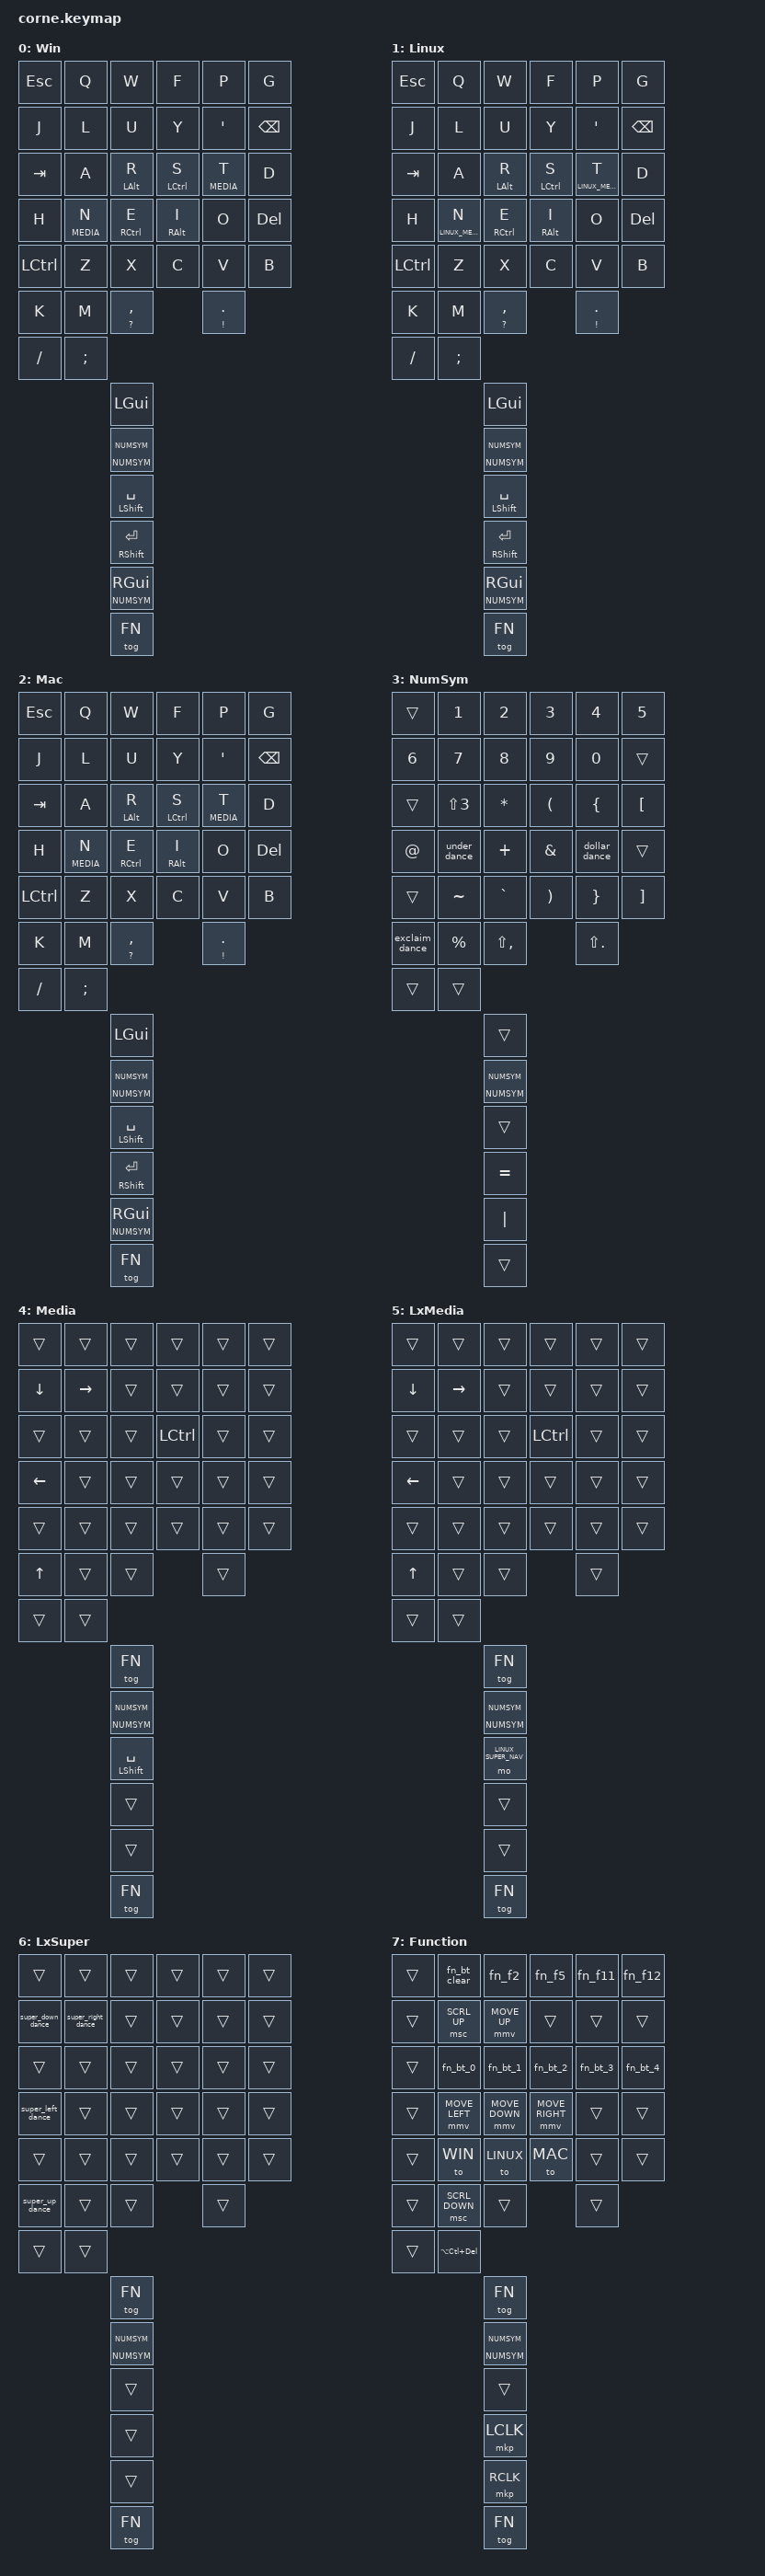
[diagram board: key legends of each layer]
/*
 * Copyright (c) 2020 The ZMK Contributors
 *
 * SPDX-License-Identifier: MIT
 */

#include <behaviors.dtsi>
#include <dt-bindings/zmk/bt.h>
#include <dt-bindings/zmk/keys.h>
#include <dt-bindings/zmk/pointing.h>

#define WIN              0
#define LINUX            1
#define MAC              2
#define NUMSYM           3
#define MEDIA            4
#define LINUX_MEDIA      5
#define LINUX_SUPER_NAV  6
#define FN               7

/ {
    combos {
        compatible = "zmk,combos";

        /*
         * Corne position map:
         *
         *  0  1  2  3  4  5       6  7  8  9 10 11
         * 12 13 14 15 16 17      18 19 20 21 22 23
         * 24 25 26 27 28 29      30 31 32 33 34 35
         *           36 37 38      39 40 41
         */

        /*
         * Maintenance shortcut retained from the Cradio:
         * with the Corne's FN layer toggled on, Z + ; enters bootloader.
         * Escape, Tab, Quote, Delete and / already have dedicated keys,
         * so their Cradio-only space-saving combos are deliberately omitted.
         */
        bootloader_combo {
            timeout-ms = <50>;
            key-positions = <25 35>; /* Z + ; */
            bindings = <&bootloader>;
            layers = <FN>;
        };

        /*
         * Windows and Linux editing combos:
         *
         * Z + X = Undo
         * X + C = Copy
         * C + V = Paste
         * V + B = Redo
         */
        ctrl_undo {
            timeout-ms = <40>;
            key-positions = <25 26>;
            bindings = <&kp LC(Z)>;
            layers = <WIN LINUX>;
        };

        ctrl_copy {
            timeout-ms = <40>;
            key-positions = <26 27>;
            bindings = <&kp LC(C)>;
            layers = <WIN LINUX>;
        };

        ctrl_paste {
            timeout-ms = <40>;
            key-positions = <27 28>;
            bindings = <&kp LC(V)>;
            layers = <WIN LINUX>;
        };

        ctrl_redo {
            timeout-ms = <40>;
            key-positions = <28 29>;
            bindings = <&kp LC(LS(Z))>;
            layers = <WIN LINUX>;
        };

        /* macOS editing combos. */
        mac_undo {
            timeout-ms = <40>;
            key-positions = <25 26>;
            bindings = <&kp LG(Z)>;
            layers = <MAC>;
        };

        mac_copy {
            timeout-ms = <40>;
            key-positions = <26 27>;
            bindings = <&kp LG(C)>;
            layers = <MAC>;
        };

        mac_paste {
            timeout-ms = <40>;
            key-positions = <27 28>;
            bindings = <&kp LG(V)>;
            layers = <MAC>;
        };

        mac_redo {
            timeout-ms = <40>;
            key-positions = <28 29>;
            bindings = <&kp LG(LS(Z))>;
            layers = <MAC>;
        };

        /*
         * Colemak arrow combos:
         *
         * K + M = Up
         * L + U = Right
         * H + N = Left
         * J + L = Down
         */
        arrow_up {
            timeout-ms = <40>;
            key-positions = <30 31>;
            bindings = <&kp UP>;
            layers = <WIN LINUX MAC>;
        };

        arrow_right {
            timeout-ms = <40>;
            key-positions = <7 8>;
            bindings = <&kp RIGHT>;
            layers = <WIN LINUX MAC>;
        };

        arrow_left {
            timeout-ms = <40>;
            key-positions = <18 19>;
            bindings = <&kp LEFT>;
            layers = <WIN LINUX MAC>;
        };

        arrow_down {
            timeout-ms = <40>;
            key-positions = <6 7>;
            bindings = <&kp DOWN>;
            layers = <WIN LINUX MAC>;
        };

        /*
         * Base punctuation combo:
         * M + , = \
         *
         * Corne keeps its dedicated / key in the outer column.
         */
        backslash_combo {
            timeout-ms = <40>;
            key-positions = <31 32>;
            bindings = <&kp BSLH>;
            layers = <WIN LINUX MAC>;
        };

    };

    macros {
        /* FN actions which automatically leave the toggled FN layer. */
        fn_bt_clear: fn_bt_clear {
            compatible = "zmk,behavior-macro";
            #binding-cells = <0>;
            bindings = <&bt BT_CLR>, <&tog FN>;
        };

        fn_bt_0: fn_bt_0 {
            compatible = "zmk,behavior-macro";
            #binding-cells = <0>;
            bindings = <&bt BT_SEL 0>, <&tog FN>;
        };

        fn_bt_1: fn_bt_1 {
            compatible = "zmk,behavior-macro";
            #binding-cells = <0>;
            bindings = <&bt BT_SEL 1>, <&tog FN>;
        };

        fn_bt_2: fn_bt_2 {
            compatible = "zmk,behavior-macro";
            #binding-cells = <0>;
            bindings = <&bt BT_SEL 2>, <&tog FN>;
        };

        fn_bt_3: fn_bt_3 {
            compatible = "zmk,behavior-macro";
            #binding-cells = <0>;
            bindings = <&bt BT_SEL 3>, <&tog FN>;
        };

        fn_bt_4: fn_bt_4 {
            compatible = "zmk,behavior-macro";
            #binding-cells = <0>;
            bindings = <&bt BT_SEL 4>, <&tog FN>;
        };

        fn_f2: fn_f2 {
            compatible = "zmk,behavior-macro";
            #binding-cells = <0>;
            bindings = <&kp F2>, <&tog FN>;
        };

        fn_f5: fn_f5 {
            compatible = "zmk,behavior-macro";
            #binding-cells = <0>;
            bindings = <&kp F5>, <&tog FN>;
        };

        fn_f11: fn_f11 {
            compatible = "zmk,behavior-macro";
            #binding-cells = <0>;
            bindings = <&kp F11>, <&tog FN>;
        };

        fn_f12: fn_f12 {
            compatible = "zmk,behavior-macro";
            #binding-cells = <0>;
            bindings = <&kp F12>, <&tog FN>;
        };
    };

    behaviors {
        /* Space/Shift and Enter/Shift thumb behavior. */
        thumb_mt: thumb_mod_tap {
            compatible = "zmk,behavior-hold-tap";
            #binding-cells = <2>;

            flavor = "balanced";
            tapping-term-ms = <200>;

            bindings = <&kp>, <&kp>;
        };

        /*
         * Generic layer-tap behavior retained for possible future use.
         *
         * First argument  = layer activated while held
         * Second argument = key sent when tapped
         */
        num_lt: num_layer_tap {
            compatible = "zmk,behavior-hold-tap";
            #binding-cells = <2>;

            flavor = "balanced";
            tapping-term-ms = <200>;

            bindings = <&mo>, <&kp>;
        };

        /*
         * NumSym thumb:
         *
         * Tap  = toggle NumSym
         * Hold = momentary NumSym
         */
        numsym_toggle_hold: numsym_toggle_hold {
            compatible = "zmk,behavior-hold-tap";
            #binding-cells = <2>;

            flavor = "balanced";
            tapping-term-ms = <200>;
            quick-tap-ms = <150>;

            bindings = <&mo>, <&tog>;
        };

        /*
         * Comma:
         * tap  = ,
         * hold = ?
         */
        comma_hold_tap: comma_hold_tap {
            compatible = "zmk,behavior-hold-tap";
            #binding-cells = <2>;

            flavor = "tap-preferred";
            tapping-term-ms = <200>;
            quick-tap-ms = <150>;
            require-prior-idle-ms = <100>;

            bindings = <&kp>, <&kp>;
        };


        under_dance: under_dance {
            compatible = "zmk,behavior-tap-dance";
            #binding-cells = <0>;

            tapping-term-ms = <175>;
            bindings = <&kp MINUS>, <&kp UNDER>;
        };


        dollar_dance: dollar_dance {
            compatible = "zmk,behavior-tap-dance";
            #binding-cells = <0>;

            tapping-term-ms = <250>;
            bindings = <&kp CARET>, <&kp DLLR>;
        };

        /*
         * NumSym punctuation:
         * tap        = !
         * double tap = ?
         */
        exclaim_dance: exclaim_dance {
            compatible = "zmk,behavior-tap-dance";
            #binding-cells = <0>;

            tapping-term-ms = <175>;
            bindings = <&kp EXCL>, <&kp QMARK>;
        };

        /*
         * Linux Super navigation:
         * single tap = Super + Arrow
         * double tap = Super + Shift + Arrow
         */
        super_down_dance: super_down_dance {
            compatible = "zmk,behavior-tap-dance";
            #binding-cells = <0>;
            tapping-term-ms = <175>;
            bindings = <&kp LG(DOWN)>, <&kp LG(LS(DOWN))>;
        };

        super_right_dance: super_right_dance {
            compatible = "zmk,behavior-tap-dance";
            #binding-cells = <0>;
            tapping-term-ms = <175>;
            bindings = <&kp LG(RIGHT)>, <&kp LG(LS(RIGHT))>;
        };

        super_left_dance: super_left_dance {
            compatible = "zmk,behavior-tap-dance";
            #binding-cells = <0>;
            tapping-term-ms = <175>;
            bindings = <&kp LG(LEFT)>, <&kp LG(LS(LEFT))>;
        };

        super_up_dance: super_up_dance {
            compatible = "zmk,behavior-tap-dance";
            #binding-cells = <0>;
            tapping-term-ms = <175>;
            bindings = <&kp LG(UP)>, <&kp LG(LS(UP))>;
        };

        /*
         * Period:
         * tap  = .
         * hold = !
         */
        dot_hold_tap: dot_hold_tap {
            compatible = "zmk,behavior-hold-tap";
            #binding-cells = <2>;

            flavor = "tap-preferred";
            tapping-term-ms = <150>;
            quick-tap-ms = <100>;
            require-prior-idle-ms = <100>;

            bindings = <&kp>, <&kp>;
        };
    };

    keymap {
        compatible = "zmk,keymap";

        /*
         * Corne Colemak-DH-like Windows layer:
         *
         * ESC   Q W F P G    J L U Y '   BSPC
         * TAB   A R S T D    H N E I O   DEL
         * LCTRL Z X C V B    K M , . /   ;
         *
         * Thumbs:
         * GUI  NumSym toggle/hold  Space/Shift
         * Enter/Shift  GUI/NumSym  FN
         */
        win_layer {
            display-name = "Win";

            bindings = <
&kp ESC    &kp Q         &kp W         &kp F          &kp P           &kp G
&kp J      &kp L         &kp U         &kp Y          &kp SQT         &kp BSPC

&kp TAB    &kp A         &mt LALT R    &mt LCTRL S    &lt MEDIA T     &kp D
&kp H      &lt MEDIA N   &mt RCTRL E   &mt RALT I     &kp O           &kp DEL

&kp LCTRL  &kp Z         &kp X         &kp C          &kp V           &kp B
&kp K      &kp M         &comma_hold_tap QMARK COMMA  &dot_hold_tap EXCL DOT
&kp FSLH   &kp SEMI

                         &kp LGUI
                         &numsym_toggle_hold NUMSYM NUMSYM
                         &thumb_mt LSHIFT SPACE
                         &thumb_mt RSHIFT RET
                         &num_lt NUMSYM RGUI
                         &tog FN
            >;
        };

        linux_layer {
            display-name = "Linux";

            bindings = <
&kp ESC    &kp Q         &kp W         &kp F                &kp P           &kp G
&kp J      &kp L         &kp U         &kp Y                &kp SQT         &kp BSPC

&kp TAB    &kp A         &mt LALT R    &mt LCTRL S          &lt LINUX_MEDIA T  &kp D
&kp H      &lt LINUX_MEDIA N
           &mt RCTRL E   &mt RALT I    &kp O                 &kp DEL

&kp LCTRL  &kp Z         &kp X         &kp C                &kp V           &kp B
&kp K      &kp M         &comma_hold_tap QMARK COMMA  &dot_hold_tap EXCL DOT
&kp FSLH   &kp SEMI

                              &kp LGUI
                              &numsym_toggle_hold NUMSYM NUMSYM
                              &thumb_mt LSHIFT SPACE
                              &thumb_mt RSHIFT RET
                              &num_lt NUMSYM RGUI
                              &tog FN
            >;
        };

        mac_layer {
            display-name = "Mac";

            bindings = <
&kp ESC    &kp Q         &kp W         &kp F          &kp P           &kp G
&kp J      &kp L         &kp U         &kp Y          &kp SQT         &kp BSPC

&kp TAB    &kp A         &mt LALT R    &mt LCTRL S    &lt MEDIA T     &kp D
&kp H      &lt MEDIA N   &mt RCTRL E   &mt RALT I     &kp O           &kp DEL

&kp LCTRL  &kp Z         &kp X         &kp C          &kp V           &kp B
&kp K      &kp M         &comma_hold_tap QMARK COMMA  &dot_hold_tap EXCL DOT
&kp FSLH   &kp SEMI

                         &kp LGUI
                         &numsym_toggle_hold NUMSYM NUMSYM
                         &thumb_mt LSHIFT SPACE
                         &thumb_mt RSHIFT RET
                         &num_lt NUMSYM RGUI
                         &tog FN
            >;
        };

        /*
         * NumSym programming layout. Outer-column utility keys stay transparent.
         *
         * Inner 30:
         * 1 2 3 4 5    6 7 8 9 0
         * # * ( { [    @ - + & ^
         * ~ ` ) } ]    ! % < > / (dedicated, inherited)
         *
         * - double-taps to _
         * ^ double-taps to $
         * ! double-taps to ?
         * NumSym right-inner thumb = =
         * NumSym right-middle thumb = |
         * Slash is the Corne's dedicated / key and remains available via &trans.
         * The dedicated ; key is on the outer right column (also &trans).
         * M + , on the base layers = \
         */
        numsym_layer {
            display-name = "NumSym";

            bindings = <
&trans  &kp N1                  &kp N2          &kp N3
        &kp N4                  &kp N5
        &kp N6                  &kp N7          &kp N8
        &kp N9                  &kp N0          &trans

&trans  &kp LS(NUMBER_3)        &kp ASTERISK    &kp LPAR
        &kp LBRC                &kp LBKT
        &kp AT               &under_dance    &kp PLUS
        &kp AMPS                  &dollar_dance   &trans

&trans  &kp TILDE               &kp GRAVE       &kp RIGHT_PARENTHESIS
        &kp RBRC                &kp RBKT
        &exclaim_dance          &kp PRCNT        &kp LS(COMMA)
        &kp LS(DOT)             &trans           &trans

                                &trans
                                &numsym_toggle_hold NUMSYM NUMSYM
                                &trans
                                &kp EQUAL
                                &kp PIPE
                                &trans
            >;
        };

        /* Navigation layer. Outer columns remain transparent. */
        media_layer {
            display-name = "Media";

            bindings = <
&trans  &trans  &trans  &trans     &trans  &trans
&kp DOWN  &kp RIGHT  &trans  &trans  &trans  &trans

&trans  &trans  &trans  &kp LCTRL  &trans  &trans
&kp LEFT  &trans  &trans  &trans  &trans  &trans

&trans  &trans  &trans  &trans     &trans  &trans
&kp UP  &trans  &trans  &trans  &trans  &trans

                        &tog FN
                        &numsym_toggle_hold NUMSYM NUMSYM
                        &thumb_mt LSHIFT SPACE
                        &trans
                        &trans
                        &tog FN
            >;
        };

        /* Linux navigation layer. Outer columns remain transparent. */
        linux_media_layer {
            display-name = "LxMedia";

            bindings = <
&trans  &trans  &trans  &trans     &trans  &trans
&kp DOWN  &kp RIGHT  &trans  &trans  &trans  &trans

&trans  &trans  &trans  &kp LCTRL  &trans  &trans
&kp LEFT  &trans  &trans  &trans  &trans  &trans

&trans  &trans  &trans  &trans     &trans  &trans
&kp UP  &trans  &trans  &trans  &trans  &trans

                        &tog FN
                        &numsym_toggle_hold NUMSYM NUMSYM
                        &mo LINUX_SUPER_NAV
                        &trans
                        &trans
                        &tog FN
            >;
        };

        /* Linux Super/Meta navigation layer. */
        linux_super_nav_layer {
            display-name = "LxSuper";

            bindings = <
&trans  &trans  &trans  &trans  &trans  &trans
&super_down_dance  &super_right_dance  &trans  &trans  &trans  &trans

&trans  &trans  &trans  &trans  &trans  &trans
&super_left_dance  &trans  &trans  &trans  &trans  &trans

&trans  &trans  &trans  &trans  &trans  &trans
&super_up_dance  &trans  &trans  &trans  &trans  &trans

                     &tog FN
                     &numsym_toggle_hold NUMSYM NUMSYM
                     &trans
                     &trans
                     &trans
                     &tog FN
            >;
        };

        /*
         * Function, Bluetooth, and mouse layer.
         * Toggle FN using the existing rightmost thumb.
         * FN + ; sends Ctrl+Alt+Delete; FN + (Z + ;) enters bootloader.
         */
        function_layer {
            display-name = "Function";

            bindings = <
&trans  &fn_bt_clear  &fn_f2       &fn_f5       &fn_f11        &fn_f12
&trans  &msc SCRL_UP  &mmv MOVE_UP &trans       &trans         &trans

&trans  &fn_bt_0      &fn_bt_1     &fn_bt_2     &fn_bt_3       &fn_bt_4
&trans  &mmv MOVE_LEFT  &mmv MOVE_DOWN  &mmv MOVE_RIGHT  &trans  &trans

&trans  &to WIN       &to LINUX    &to MAC      &trans         &trans
&trans  &msc SCRL_DOWN  &trans     &trans       &trans         &kp LA(LC(DEL))

                              &tog FN
                              &numsym_toggle_hold NUMSYM NUMSYM
                              &trans
                              &mkp LCLK
                              &mkp RCLK
                              &tog FN
            >;
        };
    };
};

/* Override ZMK's built-in home-row mod-tap behavior. */
&mt {
    flavor = "tap-preferred";
    tapping-term-ms = <175>;
    quick-tap-ms = <150>;
    require-prior-idle-ms = <125>;
};
